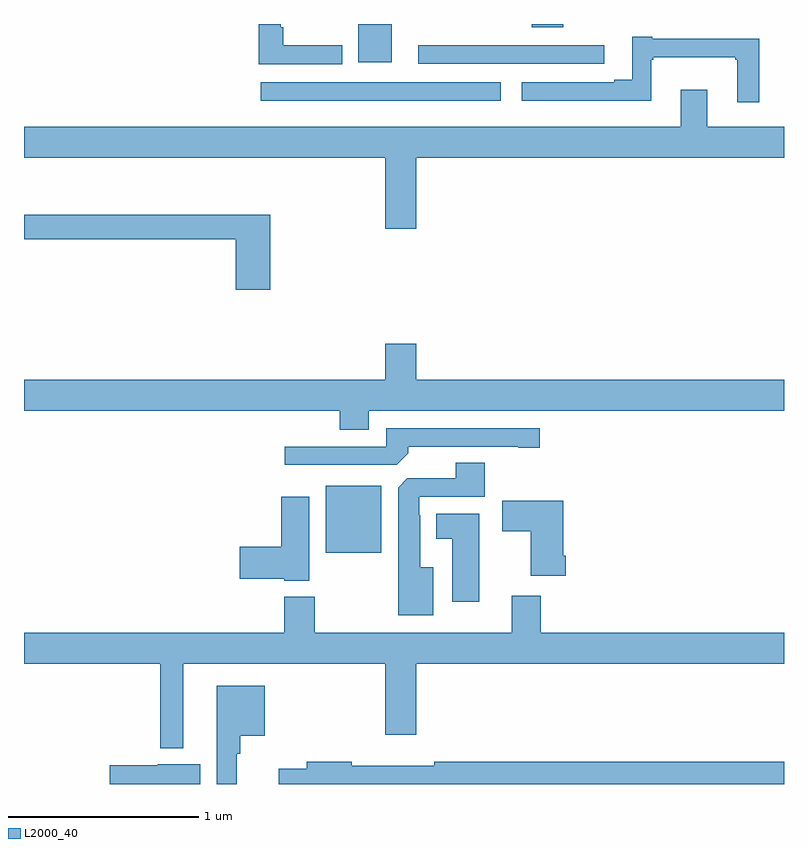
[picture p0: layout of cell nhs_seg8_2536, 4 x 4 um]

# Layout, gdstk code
import gdstk
lib = gdstk.Library(unit=1e-6, precision=1e-09)
def R(c, l, rs):  # rectangles x0, y0, x1, y1
    for r in rs: c.add(gdstk.rectangle(r[:2], r[2:], *l))
def P(c, l, *ps):  # polygons
    for p in ps: c.add(gdstk.Polygon(p, *l))
L2000_40 = (2000, 40)

nhs_seg8_2536 = lib.new_cell('nhs_seg8_2536')
R(nhs_seg8_2536, L2000_40, [(272.588,1085.117,272.881,1085.47), (272.247,1087.496,273.508,1087.593), (272.759,1087.7,272.935,1087.9), (273.672,1087.883,273.837,1087.9)])
P(nhs_seg8_2536, L2000_40, [(272.674,1087.787),(272.365,1087.787),(272.365,1087.882),(272.352,1087.882),(272.352,1087.9),(272.236,1087.9),(272.236,1087.689),(272.674,1087.689)],
  [(274.871,1087.822),(274.306,1087.822),(274.306,1087.834),(274.202,1087.834),(274.202,1087.606),(274.106,1087.606),(274.106,1087.593),(273.621,1087.593),(273.621,1087.496),(274.3,1087.496),(274.3,1087.713),(274.312,1087.713),(274.312,1087.724),(274.743,1087.724),(274.743,1087.713),(274.754,1087.713),(274.754,1087.488),(274.871,1087.488)],
  [(274.054,1087.788),(273.486,1087.788),(273.486,1087.789),(273.075,1087.789),(273.075,1087.692),(274.054,1087.692)],
  [(273.064,1087.196),(275,1087.196),(275,1087.36),(274.597,1087.36),(274.597,1087.555),(274.457,1087.555),(274.457,1087.36),(271,1087.36),(271,1087.196),(272.9,1087.196),(272.9,1086.822),(273.064,1086.822)],
  [(272.297,1086.895),(271,1086.895),(271,1086.766),(272.114,1086.766),(272.114,1086.501),(272.297,1086.501)],
  [(272.815,1085.864),(275,1085.864),(275,1086.028),(273.064,1086.028),(273.064,1086.217),(272.9,1086.217),(272.9,1086.028),(271,1086.028),(271,1085.864),(272.663,1085.864),(272.663,1085.765),(272.815,1085.765)],
  [(273.023,1085.642),(273.023,1085.676),(273.602,1085.676),(273.602,1085.671),(273.715,1085.671),(273.715,1085.772),(272.907,1085.772),(272.907,1085.676),(272.373,1085.676),(272.373,1085.58),(272.961,1085.58)],
  [(273.154,1085.041),(273.085,1085.041),(273.085,1085.315),(273.081,1085.315),(273.081,1085.412),(273.425,1085.412),(273.425,1085.591),(273.272,1085.591),(273.272,1085.508),(273.018,1085.508),(272.969,1085.459),(272.969,1084.787),(273.154,1084.787)],
  [(272.5,1085.413),(272.354,1085.413),(272.354,1085.15),(272.136,1085.15),(272.136,1084.979),(272.37,1084.979),(272.37,1084.97),(272.5,1084.97)],
  [(273.851,1085.101),(273.838,1085.101),(273.838,1085.392),(273.516,1085.392),(273.516,1085.23),(273.668,1085.23),(273.668,1084.997),(273.851,1084.997)],
  [(273.397,1085.323),(273.17,1085.323),(273.17,1085.192),(273.254,1085.192),(273.254,1084.86),(273.397,1084.86)],
  [(271.837,1084.532),(272.9,1084.532),(272.9,1084.158),(273.064,1084.158),(273.064,1084.532),(275,1084.532),(275,1084.696),(273.719,1084.696),(273.719,1084.891),(273.566,1084.891),(273.566,1084.696),(272.529,1084.696),(272.529,1084.885),(272.369,1084.885),(272.369,1084.696),(271,1084.696),(271,1084.532),(271.716,1084.532),(271.716,1084.088),(271.837,1084.088)],
  [(272.119,1084.058),(272.137,1084.058),(272.137,1084.154),(272.266,1084.154),(272.266,1084.417),(272.015,1084.417),(272.015,1083.9),(272.119,1083.9)],
  [(275,1084.016),(273.16,1084.016),(273.16,1083.997),(272.724,1083.997),(272.724,1084.016),(272.489,1084.016),(272.489,1083.98),(272.34,1083.98),(272.34,1083.9),(275,1083.9)],
  [(271.927,1084.003),(271.704,1084.003),(271.704,1083.998),(271.452,1083.998),(271.452,1083.9),(271.927,1083.9)])

lib.write_gds('nhs_seg8_2536.gds')
